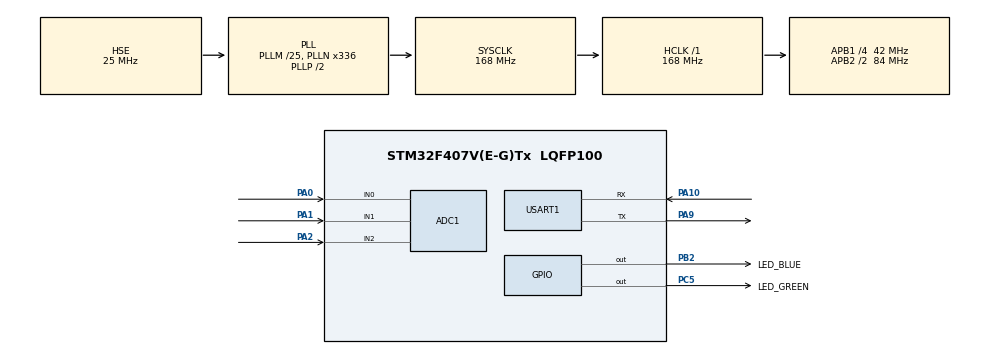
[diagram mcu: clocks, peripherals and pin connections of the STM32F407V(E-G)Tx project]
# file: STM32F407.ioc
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ADC1.Channel-0\#ChannelRegularConversion=ADC_CHANNEL_0
ADC1.Channel-1\#ChannelRegularConversion=ADC_CHANNEL_1
ADC1.Channel-2\#ChannelRegularConversion=ADC_CHANNEL_2
ADC1.ContinuousConvMode=ENABLE
ADC1.DMAContinuousRequests=ENABLE
ADC1.NbrOfConversion=3
ADC1.NbrOfConversionFlag=1
ADC1.Rank-0\#ChannelRegularConversion=1
ADC1.Rank-1\#ChannelRegularConversion=2
ADC1.Rank-2\#ChannelRegularConversion=3
ADC1.SamplingTime-0\#ChannelRegularConversion=ADC_SAMPLETIME_3CYCLES
ADC1.SamplingTime-1\#ChannelRegularConversion=ADC_SAMPLETIME_3CYCLES
ADC1.SamplingTime-2\#ChannelRegularConversion=ADC_SAMPLETIME_3CYCLES
ADC1.ScanConvMode=ENABLE
ADC1.master=1
Dma.ADC1.0.Direction=DMA_PERIPH_TO_MEMORY
Dma.ADC1.0.FIFOMode=DMA_FIFOMODE_DISABLE
Dma.ADC1.0.Instance=DMA2_Stream0
Dma.ADC1.0.MemDataAlignment=DMA_MDATAALIGN_HALFWORD
Dma.ADC1.0.MemInc=DMA_MINC_ENABLE
Dma.ADC1.0.Mode=DMA_CIRCULAR
Dma.ADC1.0.PeriphDataAlignment=DMA_PDATAALIGN_HALFWORD
Dma.ADC1.0.PeriphInc=DMA_PINC_DISABLE
Dma.ADC1.0.Priority=DMA_PRIORITY_LOW
Dma.Request0=ADC1
Mcu.Family=STM32F4
Mcu.Name=STM32F407V(E-G)Tx
Mcu.Package=LQFP100
NVIC.DMA2_Stream0_IRQn=true\:0\:0\:false\:false\:true\:false\:true\:true
NVIC.PriorityGroup=NVIC_PRIORITYGROUP_4
PA0-WKUP.Signal=ADCx_IN0
PA1.Signal=ADCx_IN1
PA10.Mode=Asynchronous
PA10.Signal=USART1_RX
PA13.Mode=Serial_Wire
PA13.Signal=SYS_JTMS-SWDIO
PA14.Mode=Serial_Wire
PA14.Signal=SYS_JTCK-SWCLK
PA2.Signal=ADCx_IN2
PA9.Mode=Asynchronous
PA9.Signal=USART1_TX
PB2.GPIO_Label=LED_BLUE
PB2.Signal=GPIO_Output
PC5.GPIO_Label=LED_GREEN
PC5.Signal=GPIO_Output
PH0-OSC_IN.Mode=HSE-External-Oscillator
PH0-OSC_IN.Signal=RCC_OSC_IN
PH1-OSC_OUT.Mode=HSE-External-Oscillator
PH1-OSC_OUT.Signal=RCC_OSC_OUT
ProjectManager.HeapSize=0x200
ProjectManager.StackSize=0x1000
ProjectManager.TargetToolchain=MDK-ARM V5.32
RCC.48MHZClocksFreq_Value=84000000
RCC.AHBFreq_Value=168000000
RCC.APB1CLKDivider=RCC_HCLK_DIV4
RCC.APB1Freq_Value=42000000
RCC.APB1TimFreq_Value=84000000
RCC.APB2CLKDivider=RCC_HCLK_DIV2
RCC.APB2Freq_Value=84000000
RCC.APB2TimFreq_Value=168000000
RCC.CortexFreq_Value=168000000
RCC.HCLKFreq_Value=168000000
RCC.HSE_VALUE=25000000
RCC.HSI_VALUE=16000000
RCC.LSE_VALUE=32768
RCC.PLLM=25
RCC.PLLN=336
RCC.PLLSourceVirtual=RCC_PLLSOURCE_HSE
RCC.SYSCLKFreq_VALUE=168000000
RCC.SYSCLKSource=RCC_SYSCLKSOURCE_PLLCLK
RCC.VCOOutputFreq_Value=336000000
SH.ADCx_IN0.0=ADC1_IN0,IN0
SH.ADCx_IN1.0=ADC1_IN1,IN1
SH.ADCx_IN2.0=ADC1_IN2,IN2
USART1.VirtualMode=VM_ASYNC
board=custom

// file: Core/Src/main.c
/* USER CODE BEGIN Header */
/**==================================================================================================================
 ** 【代码编写】  魔女开发板团队
 ** 【淘    宝】  魔女开发板       https://demoboard.taobao.com
 **==================================================================================================================
 ** 【实验名称】  ADC1 多通道采集 + DMA 转运
 **
 ** 【适用平台】  STM32F407 + keil5 + HAL库
 **
 ** 【实验目标】  通过ADC1配置多通道扫描，配合DMA实现自动转运;
 **               1-采集ADC1_IN0(PA0)、ADC1_IN1(PA1)、ADC1_IN2(PA2)三路电压;
 **               2-DMA自动搬运转换结果到数组，不占用CPU;
 **               3-500ms定时打印ADC原始值与实际电压值;
 **               4-LED闪烁指示系统正常运行;
 **
 ** 【引脚接线】  ADC1_IN0 → PA0
 **               ADC1_IN1 → PA1
 **               ADC1_IN2 → PA2
 **               输入电压范围：0 ~ 3.3V
 **
 ** 【 CubeMX 】  打开Analog → ADC1;
 **               IN0 / IN1 / IN2 ：Single-ended
 **               Scan Conversion ：Enable
 **               Continuous Conversion ：Enable
 **               DMA Continuous Requests ：Enable
 **               Resolution ：12 Bit
 **               外设设置DMA：Normal→Circular，数据宽度HalfWord
 **
 ** 【初 始 化】  1-ADC1与DMA初始化由CubeMX自动生成;
 **               2-调用HAL_ADC_Start_DMA()启动连续转换+DMA搬运;
 **               3-主循环非阻塞读取adcValue数组即可;
 **
 ** 【ADC重点】   1-分辨率12位：数值范围0~4095，对应电压0~3.3V;
 **               2-电压计算公式：电压 = (ADC值 / 4095) × 3.3;
 **               3-DMA循环模式：自动不断刷新转换结果，无需手动重启;
 **               4-多通道扫描：硬件自动切换通道，无需软件干预;
 **
 ** 【移植说明】  1-增减采集通道只需修改CubeMX与DMA缓存长度;
 **               2-修改打印间隔只需调整500ms定时值;
 **               3-电压计算公式可根据参考电压灵活修改;
 **
 ** 【更新记录】  2026-03-26  整理注释
 **
 ** 【备注说明】  版权归魔女科技所有，请勿商用，谢谢！
 **               https://demoboard.taobao.com
 **
==================================================================================================================**/
/* USER CODE END Header */
#include "main.h"
#include "adc.h"
#include "dma.h"
#include "usart.h"
#include "gpio.h"

/* USER CODE BEGIN Includes */
// 用户代码，必须写在配对的BEGIN与END注释之间; 否则,重新生成时会被自动删除;
#include "bsp_UART.h"         // UART通信

/* USER CODE END Includes */

/* USER CODE BEGIN PV */
// 用户代码，必须写在配对的BEGIN与END注释之间; 否则,重新生成时会被自动删除;
uint16_t adcValue[3] = {0};      // 缓存数组

/* USER CODE END PV */

void SystemClock_Config(void);

int main(void)
{

    /* USER CODE BEGIN 1 */

    /* 说明：
     * 1. 不要删除CubeMX生成的注释行（形如 USER CODE BEGIN/END），这些注释用于代码重新生成时的定位
     * 2. 所有用户自定义代码必须写在对应的BEGIN与END注释行之间，否则重新生成时会被覆盖
     * 3. 主要初始化函数说明：
     *    - HAL_Init()            初始化HAL库，配置中断优先级、系统时基等
     *    - SystemClock_Config()  配置系统时钟
     *    - MX_GPIO_Init()        初始化GPIO引脚（仅包含推挽输出、中断触发等配置）
     *    - 外设功能引脚（如UART、SPI等）的初始化在各自的功能文件中
     */

    /* USER CODE END 1 */

    /* MCU Configuration--------------------------------------------------------*/

    /* Reset of all peripherals, Initializes the Flash interface and the Systick. */
    HAL_Init();

    /* Configure the system clock */
    SystemClock_Config();

    /* Initialize all configured peripherals */
    MX_GPIO_Init();
    MX_DMA_Init();
    MX_USART1_UART_Init();
    MX_ADC1_Init();
    /* USER CODE BEGIN 2 */
    // 用户代码，必须写在配对的BEGIN与END注释之间; 否则,重新生成时会被自动删除;
    UART1_Init(115200);                                       // UART1初始化

    HAL_ADC_Start_DMA(&hadc1, (uint32_t *)adcValue, 3);       // 使能ADC1+DMA，开始不断地转换

    /* USER CODE END 2 */

    /* Infinite loop */
    /* USER CODE BEGIN WHILE */
    while (1)
    {
        /** 1ms延时间隔 **/
        HAL_Delay(1 - 1);                                              // 延时函数，参数：ms; 注意：CubeMX生成的HAL_Delay(), 函数内部为避免无效操作，会对传入参数+1，因此，如果只需要几ms延时建议传入参数时-1，如果需要大几百ms的非精准延时，那参数不-1也影响不大

        /** 每500ms执行一次的任务 (读取转换结果)**/
        static uint32_t lastTime_500ms = 0;                            // 定义静态变量，用于记录上次执行这个任务的时间点(单位：毫秒)
        if (HAL_GetTick() - lastTime_500ms >= 500)                     // 检查当前时间距离上次执行是否已经过了500毫秒; HAL_GetTick()是获取启动后经过的毫秒数
        {
            printf("IN0(PA0) = %04d     ", adcValue[0]);               // printf 通道0的ADC转换结果
            printf("IN1(PA1) = %04d     ", adcValue[1]);               // printf 通道1的ADC转换结果
            printf("IN2(PA2) = %04d   \r", adcValue[2]);               // printf 通道2的ADC转换结果

            float vol_0 = ((float)adcValue[0] / 4095) * 3.3f;          // 把通道0的ADC值，按比例计算成电压值
            float vol_1 = ((float)adcValue[1] / 4095) * 3.3f;          // 把通道1的ADC值，按比例计算成电压值
            float vol_2 = ((float)adcValue[2] / 4095) * 3.3f;          // 把通道2的ADC值，按比例计算成电压值

            printf("IN0(PA0) = %3.2fV    ",  vol_0);                   // printf 通道0 所采集到的电压值
            printf("IN1(PA1) = %3.2fV    ",  vol_1);                   // printf 通道1 所采集到的电压值
            printf("IN2(PA2) = %3.2fV \r\r", vol_2);                   // printf 通道2 所采集到的电压值

            HAL_GPIO_TogglePin(LED_GREEN_GPIO_Port, LED_GREEN_Pin);    // 控制绿色LED引脚电平翻转(PC5); 规律地闪烁LED，方便外部观察系统是否正常运行

            lastTime_500ms =   HAL_GetTick();                          // 记录当前时间，作为新的基准点，为下一次判断做准备
        }

        /* USER CODE END WHILE */

    }
}

void SystemClock_Config(void)
{
    RCC_OscInitTypeDef RCC_OscInitStruct = {0};
    RCC_ClkInitTypeDef RCC_ClkInitStruct = {0};

    /** Configure the main internal regulator output voltage
    */
    __HAL_RCC_PWR_CLK_ENABLE();
    __HAL_PWR_VOLTAGESCALING_CONFIG(PWR_REGULATOR_VOLTAGE_SCALE1);

    /** Initializes the RCC Oscillators according to the specified parameters
    * in the RCC_OscInitTypeDef structure.
    */
    RCC_OscInitStruct.OscillatorType = RCC_OSCILLATORTYPE_HSE;
    RCC_OscInitStruct.HSEState = RCC_HSE_ON;
    RCC_OscInitStruct.PLL.PLLState = RCC_PLL_ON;
    RCC_OscInitStruct.PLL.PLLSource = RCC_PLLSOURCE_HSE;
    RCC_OscInitStruct.PLL.PLLM = 25;
    RCC_OscInitStruct.PLL.PLLN = 336;
    RCC_OscInitStruct.PLL.PLLP = RCC_PLLP_DIV2;
    RCC_OscInitStruct.PLL.PLLQ = 4;
    if (HAL_RCC_OscConfig(&RCC_OscInitStruct) != HAL_OK)
    {
        Error_Handler();
    }

    /** Initializes the CPU, AHB and APB buses clocks
    */
    RCC_ClkInitStruct.ClockType = RCC_CLOCKTYPE_HCLK | RCC_CLOCKTYPE_SYSCLK
                                  | RCC_CLOCKTYPE_PCLK1 | RCC_CLOCKTYPE_PCLK2;
    RCC_ClkInitStruct.SYSCLKSource = RCC_SYSCLKSOURCE_PLLCLK;
    RCC_ClkInitStruct.AHBCLKDivider = RCC_SYSCLK_DIV1;
    RCC_ClkInitStruct.APB1CLKDivider = RCC_HCLK_DIV4;
    RCC_ClkInitStruct.APB2CLKDivider = RCC_HCLK_DIV2;

    if (HAL_RCC_ClockConfig(&RCC_ClkInitStruct, FLASH_LATENCY_5) != HAL_OK)
    {
        Error_Handler();
    }
}

void Error_Handler(void)
{
    __disable_irq();
    while (1)
    {
    }
}
